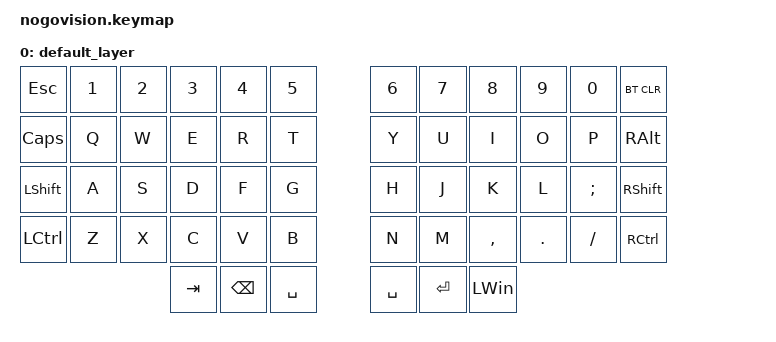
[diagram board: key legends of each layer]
/*
 * Copyright (c) 2020 The ZMK Contributors
 *
 * SPDX-License-Identifier: MIT
 */

#include <behaviors.dtsi>
#include <dt-bindings/zmk/keys.h>
#include <dt-bindings/zmk/bt.h>

#define BASE 0
#define NAV 1
#define MODS 2
#define SYMBOLS 3
#define NUMBERS 4
#define SPECIAL 5

#define LAUNCHER (LG(SPACE))
#define CTRL_TAB (LC(TAB))
#define C_S_TAB (LC(LS(TAB)))
#define ELLIPSIS (LA(SEMICOLON))

#define SPC_PREVIOUS (LC(LA(LEFT)))
#define S_PRV SPC_PREVIOUS

#define SPC_NEXT (LC(LA(RIGHT)))
#define S_NXT SPC_NEXT

&sk {
  release-after-ms = <1500>;
  quick-release;
};

/ {

  chosen {
    zmk,battery = &vbatt;
  };

  vbatt: vbatt {
      compatible = "zmk,battery-nrf-vddh";
      label = "VBATT";
  };

  conditional_layers {
      compatible = "zmk,conditional-layers";
      tri_layer {
          if-layers = <1 3>;
          then-layer = <4>;
      };
  };

  behaviors {
      td_caps: tap_dance_smart_shift {
          compatible = "zmk,behavior-tap-dance";
          label = "TAP_DANCE_SMART_SHIFT";
          #binding-cells = <0>;
          tapping-term-ms = <200>;
          bindings = <&sk LSHIFT>, <&caps_word>;
      };

      flt: fast_layer_tap {
          compatible = "zmk,behavior-hold-tap";
          label = "FAST_LAYER_TAP";
          #binding-cells = <2>;
          flavor = "hold-preferred";
          tapping-term-ms = <175>;
          quick-tap-ms = <125>;
          bindings = <&mo>, <&kp>;
    };
  };

  keymap {
    compatible = "zmk,keymap";

    default_layer {
      bindings = <
     &kp N1    &kp N2   &kp N3    &kp N4    &kp N5                    &kp N6    &kp N7   &kp N8    &kp N9    &kp N0 
     &kp Q     &kp W    &kp E     &kp R     &kp T                     &kp Y     &kp U    &kp I     &kp O     &kp P    
     &kp A     &kp S    &kp D     &kp F     &kp G                     &kp H     &kp J    &kp K     &kp L     &kp SEMI 
     &kp Z     &kp X    &kp C     &kp V     &kp B                     &kp N     &kp M    &kp COMMA &bt BT_CLR &bt BT_SEL 
                        &kp DELETE&kp TAB   &kp SPACE                 &kp SPACE &kp BKSP &kp ENTER
			>;
    };


    /*nav_layer {
      bindings = <
      &sl  SPECIAL &kp  C_S_TAB &kp      TAB &kp CTRL_TAB &none                  &none        &kp     HOME &kp       UP &kp      END &kp     BSPC
      &sk     LALT &sk   LSHIFT &sk    LCTRL &sk     LGUI &none                  &none        &kp     LEFT &kp     DOWN &kp    RIGHT &kp    ENTER
      &kp    LG(C) &kp    S_PRV &kp LAUNCHER &kp    S_NXT &kp    LG(V)           &none        &none        &none        &none        &none
                                             &trans       &trans                 &trans       &trans
      >;
    };

    mods_layer {
      bindings = <
      &none        &none        &none        &none        &none                  &none        &none        &none        &none        &none       
      &kp     LALT &kp   LSHIFT &kp    LCTRL &kp     LGUI &none                  &none        &none        &none        &none        &none       
      &none        &none        &none        &none        &none                  &none        &none        &none        &none        &none
                                             &trans       &trans                 &trans       &trans
      >;
    };

    symbols_layer {
      bindings = <
      &kp   ESCAPE &kp  PERCENT &kp    QMARK &kp    COLON &kp       AT           &kp    CARET &kp     LPAR &kp     SEMI &kp     RPAR &sl  SPECIAL
      &kp     EXCL &kp     PLUS &kp    MINUS &kp    EQUAL &kp     HASH           &kp ELLIPSIS &sk     LGUI &sk    LCTRL &sk   LSHIFT &sk     LALT
      &kp    TILDE &kp   DOLLAR &kp ASTERISK &kp    SLASH &kp     AMPS           &kp     PIPE &kp     LBRC &kp     BSLH &kp     RBRC &kp    GRAVE
                                             &trans       &trans                 &trans       &trans
      >;
    };

    numbers_layer {
      bindings = <
      &none        &kp       N7 &kp       N8 &kp       N9 &none                  &none        &none        &none        &none        &none
      &none        &kp       N4 &kp       N5 &kp       N6 &none                  &none        &kp     LGUI &kp    LCTRL &kp   LSHIFT &kp     LALT
      &none        &kp       N1 &kp       N2 &kp       N3 &none                  &none        &kp     LBKT &kp       N0 &kp     RBKT &none
                                             &trans       &trans                 &trans       &trans
      >;
    };

    special_layer {
      bindings = <
      &none        &bt BT_SEL 3 &bt BT_SEL 2 &bt BT_SEL 1 &bt BT_SEL 0           &bt BT_SEL 0 &bt BT_SEL 1 &bt BT_SEL 2 &bt BT_SEL 3 &none
      &none        &none        &none        &none        &none                  &none        &none        &none        &none        &none
      &none        &bt   BT_PRV &bt   BT_CLR &bt   BT_NXT &bootloader            &bootloader  &bt   BT_PRV &bt   BT_CLR &bt   BT_NXT &none
                                             &kp LAUNCHER &none                  &none        &kp LAUNCHER
      >;
    };*/

  };

};


ergovision keymap 
#include <behaviors.dtsi>
#include <dt-bindings/zmk/keys.h>
#include <dt-bindings/zmk/bt.h>
#include <behaviors/mouse_move.dtsi>
#include <dt-bindings/zmk/mouse.h>

//#define ZMK_MOUSE_DEFAULT_MOVE_VAL 1500  // 600
//#define ZMK_MOUSE_DEFAULT_SCRL_VAL 20    // 10

#define DEF 0;
#define MSK 1;
#define MSC 2;

/ {
    keymap {
        compatible = "zmk,keymap";

        default_layer {
            bindings = <
                &kp ESC      &kp N1     &kp N2     &kp N3     &kp N4     &kp N5                   &kp N6     &kp N7     &kp N8     &kp N9     &kp N0     &bt BT_CLR
                &kp CAPSLOCK &kp Q      &kp W      &kp E      &kp R      &kp T                    &kp Y      &kp U      &kp I      &kp O      &kp P      &kp RALT
                &kp LSHIFT   &kp A      &kp S      &kp D      &kp F      &kp G                    &kp H      &kp J      &kp K      &kp L      &kp SEMI   &kp RSHIFT
                &kp LCTRL    &kp Z      &kp X      &kp C      &kp V      &kp B                    &kp N      &kp M      &kp COMMA  &kp DOT    &kp SLASH  &kp RCTRL
                                                   &kp TAB    &kp BSPC   &kp SPACE                &kp SPACE   &kp ENTER &kp LEFT_WIN
            >;
        };
    };
};


# Copyright (c) 2022 ZMK Contributors
# SPDX-License-Identifier: MIT
 
 
if SHIELD_ERGOVISION_LEFT

config ZMK_KEYBOARD_NAME
	default "ergovision_left"

endif

if SHIELD_ERGOVISION_RIGHT

config ZMK_KEYBOARD_NAME
	default "ErgoVision"

config ZMK_SPLIT_BLE_ROLE_CENTRAL
	default y
	
endif

if SHIELD_ERGOVISION_LEFT || SHIELD_ERGOVISION_RIGHT

config ZMK_SPLIT
	default y
	
config ZMK_USB
	default y

config I2C 
	default y
endif
